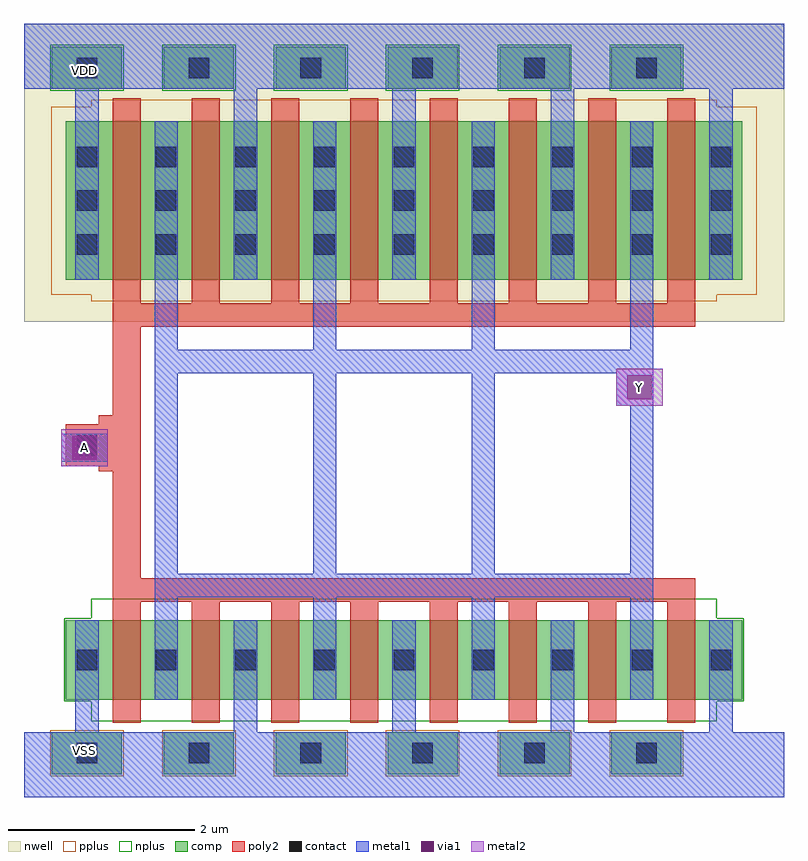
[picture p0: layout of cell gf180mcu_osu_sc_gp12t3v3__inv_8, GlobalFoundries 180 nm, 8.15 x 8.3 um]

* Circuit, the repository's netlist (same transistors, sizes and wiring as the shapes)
* Copyright 2022 Google LLC
*
* Licensed under the Apache License, Version 2.0 (the "License");
* you may not use this file except in compliance with the License.
* You may obtain a copy of the License at
*
*      http://www.apache.org/licenses/LICENSE-2.0
*
* Unless required by applicable law or agreed to in writing, software
* distributed under the License is distributed on an "AS IS" BASIS,
* WITHOUT WARRANTIES OR CONDITIONS OF ANY KIND, either express or implied.
* See the License for the specific language governing permissions and
* limitations under the License.

* NGSPICE file created from gf180mcu_osu_sc_gp12t3v3__inv_8.ext - technology: gf180mcuC

.subckt gf180mcu_osu_sc_gp12t3v3__inv_8 A Y VDD VSS
X0 VDD A Y VDD pfet_03p3 w=1.7u l=0.3u
X1 Y A VDD VDD pfet_03p3 w=1.7u l=0.3u
X2 Y A VDD VDD pfet_03p3 w=1.7u l=0.3u
X3 VDD A Y VDD pfet_03p3 w=1.7u l=0.3u
X4 VSS A Y VSS nfet_03p3 w=0.85u l=0.3u
X5 Y A VDD VDD pfet_03p3 w=1.7u l=0.3u
X6 Y A VSS VSS nfet_03p3 w=0.85u l=0.3u
X7 Y A VSS VSS nfet_03p3 w=0.85u l=0.3u
X8 Y A VSS VSS nfet_03p3 w=0.85u l=0.3u
X9 Y A VSS VSS nfet_03p3 w=0.85u l=0.3u
X10 VSS A Y VSS nfet_03p3 w=0.85u l=0.3u
X11 VSS A Y VSS nfet_03p3 w=0.85u l=0.3u
X12 VSS A Y VSS nfet_03p3 w=0.85u l=0.3u
X13 VDD A Y VDD pfet_03p3 w=1.7u l=0.3u
X14 Y A VDD VDD pfet_03p3 w=1.7u l=0.3u
X15 VDD A Y VDD pfet_03p3 w=1.7u l=0.3u
.ends

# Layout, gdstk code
import gdstk
lib = gdstk.Library(unit=1e-6, precision=1e-09)
def R(c, l, rs):  # rectangles x0, y0, x1, y1
    for r in rs: c.add(gdstk.rectangle(r[:2], r[2:], *l))
def A(c, l, x, y, w, h, nx, ny, dx, dy):  # array of equal rectangles
    R(c, l, [(x+i*dx, y+j*dy, x+i*dx+w, y+j*dy+h) for i in range(nx) for j in range(ny)])
nwell = (21, 0)
comp = (22, 0)
poly2 = (30, 0)
pplus = (31, 0)
nplus = (32, 0)
contact = (33, 0)
metal1 = (34, 0)
via1 = (35, 0)
metal2 = (36, 0)

gf180mcu_osu_sc_gp12t3v3 = lib.new_cell('gf180mcu_osu_sc_gp12t3v3__inv_8')
R(gf180mcu_osu_sc_gp12t3v3, nwell, [(0,5.1,8.15,8.3)])
A(gf180mcu_osu_sc_gp12t3v3, comp, 0.3, 0.25, 0.75, 0.45, 6, 2, 1.2, 7.35)
R(gf180mcu_osu_sc_gp12t3v3, comp, [(0.45,1.05,7.7,1.9), (0.45,5.55,7.7,7.25)])
A(gf180mcu_osu_sc_gp12t3v3, poly2, 0.95, 0.8, 0.3, 1.3, 8, 1, 0.85, 0)
A(gf180mcu_osu_sc_gp12t3v3, poly2, 0.95, 5.3, 0.3, 2.2, 8, 1, 0.85, 0)
R(gf180mcu_osu_sc_gp12t3v3, poly2, [(0.95,2.1,7.2,2.35), (0.95,2.35,1.25,3.5), (0.8,3.5,1.25,3.55), (0.45,3.55,1.25,4), (0.8,4,1.25,4.1), (0.95,4.1,1.25,5.05), (0.95,5.05,7.2,5.3)])
A(gf180mcu_osu_sc_gp12t3v3, pplus, 0.28, 0.23, 0.79, 0.49, 6, 1, 1.2, 0)
R(gf180mcu_osu_sc_gp12t3v3, pplus, [(0.72,5.32,7.43,5.39), (0.29,5.39,7.86,7.41), (0.72,7.41,7.43,7.48)])
A(gf180mcu_osu_sc_gp12t3v3, nplus, 0.28, 7.58, 0.79, 0.49, 6, 1, 1.2, 0)
R(gf180mcu_osu_sc_gp12t3v3, nplus, [(0.72,0.82,7.43,1.03), (0.43,1.03,7.72,1.92), (0.72,1.92,7.43,2.13)])
A(gf180mcu_osu_sc_gp12t3v3, contact, 0.565, 0.365, 0.22, 0.22, 6, 2, 1.2, 7.35)
A(gf180mcu_osu_sc_gp12t3v3, contact, 0.565, 1.365, 0.22, 0.22, 9, 2, 0.85, 4.455)
A(gf180mcu_osu_sc_gp12t3v3, contact, 0.565, 6.29, 0.22, 0.22, 9, 2, 0.85, 0.47)
R(gf180mcu_osu_sc_gp12t3v3, contact, [(0.565,3.665,0.785,3.885)])
A(gf180mcu_osu_sc_gp12t3v3, metal1, 0.55, 0.7, 0.25, 1.2, 5, 1, 1.7, 0)
A(gf180mcu_osu_sc_gp12t3v3, metal1, 1.4, 1.05, 0.25, 1.1, 4, 1, 1.7, 0)
A(gf180mcu_osu_sc_gp12t3v3, metal1, 1.4, 2.4, 0.25, 2.15, 3, 1, 1.7, 0)
A(gf180mcu_osu_sc_gp12t3v3, metal1, 1.4, 4.8, 0.25, 2.45, 4, 1, 1.7, 0)
A(gf180mcu_osu_sc_gp12t3v3, metal1, 0.55, 5.55, 0.25, 2.05, 5, 1, 1.7, 0)
R(gf180mcu_osu_sc_gp12t3v3, metal1, [(0,0,8.15,0.7), (1.4,2.15,6.75,2.4), (6.5,2.4,6.75,4.2), (0.4,3.6,0.9,3.9), (6.35,4.2,6.75,4.55), (1.4,4.55,6.75,4.8), (0,7.6,8.15,8.3)])
R(gf180mcu_osu_sc_gp12t3v3, via1, [(0.52,3.62,0.78,3.88), (6.47,4.27,6.73,4.53)])
R(gf180mcu_osu_sc_gp12t3v3, metal2, [(0.4,3.55,0.9,3.95), (6.35,4.2,6.85,4.6)])
gf180mcu_osu_sc_gp12t3v3.add(gdstk.Label('A', (0.65,3.75), layer=36, texttype=10))
gf180mcu_osu_sc_gp12t3v3.add(gdstk.Label('Y', (6.6,4.4), layer=36, texttype=10))
gf180mcu_osu_sc_gp12t3v3.add(gdstk.Label('VDD', (0.65,7.8), layer=34, texttype=10))
gf180mcu_osu_sc_gp12t3v3.add(gdstk.Label('VSS', (0.65,0.5), layer=34, texttype=10))

lib.write_gds('gf180mcu_osu_sc_gp12t3v3__inv_8.gds')
